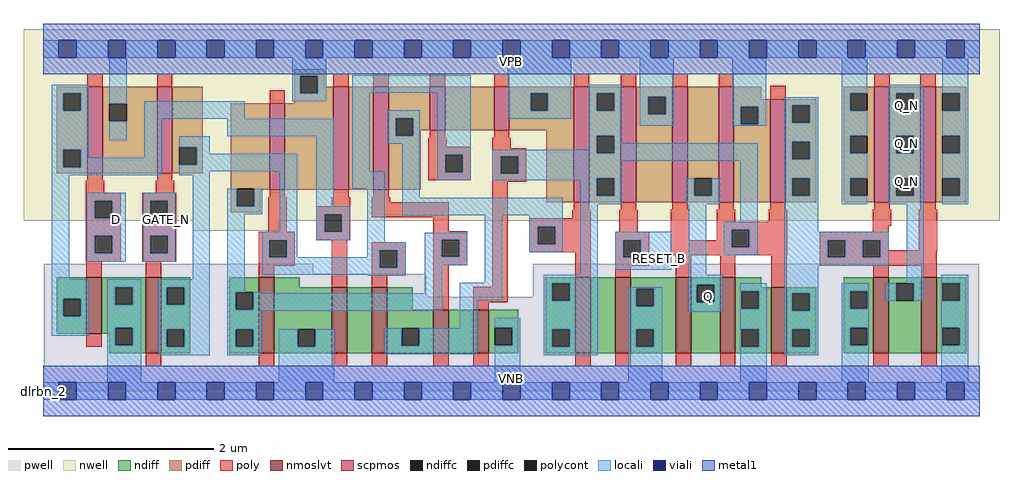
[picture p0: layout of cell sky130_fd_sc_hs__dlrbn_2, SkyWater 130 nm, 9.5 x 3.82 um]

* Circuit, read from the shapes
.subckt sky130_fd_sc_hs__dlrbn_2 D GATE_N RESET_B VGND VNB VPB VPWR Q Q_N
XM1 VGND D n1 VNB sky130_fd_pr__nfet_01v8_lvt w=0.55 l=0.15
XM2 n2 GATE_N VGND VNB sky130_fd_pr__nfet_01v8_lvt w=0.74 l=0.15
XM3 VGND n2 n3 VNB sky130_fd_pr__nfet_01v8_lvt w=0.74 l=0.15
XM4 n4 n1 VGND VNB sky130_fd_pr__nfet_01v8_lvt w=0.64 l=0.15
XM5 n5 n2 n4 VNB sky130_fd_pr__nfet_01v8_lvt w=0.64 l=0.15
XM6 n6 n3 n5 VNB sky130_fd_pr__nfet_01v8_lvt w=0.42 l=0.15
XM7 VGND n7 n6 VNB sky130_fd_pr__nfet_01v8_lvt w=0.42 l=0.15
XM8 n8 n5 n7 VNB sky130_fd_pr__nfet_01v8_lvt w=0.74 l=0.15
XM9 VGND RESET_B n8 VNB sky130_fd_pr__nfet_01v8_lvt w=0.74 l=0.15
XM10 Q n7 VGND VNB sky130_fd_pr__nfet_01v8_lvt w=0.74 l=0.15 m=2
XM11 n9 n7 VGND VNB sky130_fd_pr__nfet_01v8_lvt w=0.64 l=0.15
XM12 Q_N n9 VGND VNB sky130_fd_pr__nfet_01v8_lvt w=0.74 l=0.15 m=2
XM13 VPWR D n1 VPB sky130_fd_pr__pfet_01v8 w=0.84 l=0.15
XM14 n2 GATE_N VPWR VPB sky130_fd_pr__pfet_01v8 w=0.84 l=0.15
XM15 VPWR n2 n3 VPB sky130_fd_pr__pfet_01v8 w=0.84 l=0.15
XM16 n10 n1 VPWR VPB sky130_fd_pr__pfet_01v8 w=1 l=0.15
XM17 n5 n3 n10 VPB sky130_fd_pr__pfet_01v8 w=1 l=0.15
XM18 n11 n2 n5 VPB sky130_fd_pr__pfet_01v8 w=0.42 l=0.15
XM19 VPWR n7 n11 VPB sky130_fd_pr__pfet_01v8 w=0.42 l=0.15
XM20 n7 n5 VPWR VPB sky130_fd_pr__pfet_01v8 w=1.12 l=0.15
XM21 VPWR RESET_B n7 VPB sky130_fd_pr__pfet_01v8 w=1.12 l=0.15
XM22 Q n7 VPWR VPB sky130_fd_pr__pfet_01v8 w=1.12 l=0.15 m=2
XM23 n9 n7 VPWR VPB sky130_fd_pr__pfet_01v8 w=1 l=0.15
XM24 Q_N n9 VPWR VPB sky130_fd_pr__pfet_01v8 w=1.12 l=0.15 m=2
.ends

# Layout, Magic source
magic
tech sky130A
magscale 1 2
<< nwell >>
rect -38 332 1862 704
rect 291 312 459 332
<< pwell >>
rect 1 228 526 248
rect 1 184 746 228
rect 953 184 1823 248
rect 1 49 1823 184
rect 0 0 1824 49
<< scpmos >>
rect 86 424 116 592
rect 222 424 252 592
rect 441 392 471 560
rect 565 392 595 592
rect 643 392 673 592
rect 753 508 783 592
rect 878 508 908 592
rect 1033 368 1063 592
rect 1125 368 1155 592
rect 1225 368 1255 592
rect 1315 368 1345 592
rect 1416 368 1446 568
rect 1618 368 1648 592
rect 1708 368 1738 592
<< nmoslvt >>
rect 84 112 114 222
rect 200 74 230 222
rect 420 74 450 222
rect 562 74 592 202
rect 640 74 670 202
rect 760 74 790 158
rect 838 74 868 158
rect 1036 74 1066 222
rect 1114 74 1144 222
rect 1232 74 1262 222
rect 1318 74 1348 222
rect 1418 74 1448 202
rect 1616 74 1646 222
rect 1710 74 1740 222
<< ndiff >>
rect 27 180 84 222
rect 27 146 39 180
rect 73 146 84 180
rect 27 112 84 146
rect 114 202 200 222
rect 114 168 141 202
rect 175 168 200 202
rect 114 123 200 168
rect 114 112 141 123
rect 129 89 141 112
rect 175 89 200 123
rect 129 74 200 89
rect 230 202 287 222
rect 230 168 241 202
rect 275 168 287 202
rect 230 120 287 168
rect 230 86 241 120
rect 275 86 287 120
rect 230 74 287 86
rect 363 192 420 222
rect 363 158 375 192
rect 409 158 420 192
rect 363 120 420 158
rect 363 86 375 120
rect 409 86 420 120
rect 363 74 420 86
rect 450 202 500 222
rect 450 120 562 202
rect 450 86 496 120
rect 530 86 562 120
rect 450 74 562 86
rect 592 74 640 202
rect 670 158 720 202
rect 979 210 1036 222
rect 979 176 991 210
rect 1025 176 1036 210
rect 670 122 760 158
rect 670 88 698 122
rect 732 88 760 122
rect 670 74 760 88
rect 790 74 838 158
rect 868 123 925 158
rect 868 89 879 123
rect 913 89 925 123
rect 868 74 925 89
rect 979 120 1036 176
rect 979 86 991 120
rect 1025 86 1036 120
rect 979 74 1036 86
rect 1066 74 1114 222
rect 1144 199 1232 222
rect 1144 165 1155 199
rect 1189 165 1232 199
rect 1144 120 1232 165
rect 1144 86 1155 120
rect 1189 86 1232 120
rect 1144 74 1232 86
rect 1262 207 1318 222
rect 1262 173 1273 207
rect 1307 173 1318 207
rect 1262 74 1318 173
rect 1348 202 1398 222
rect 1348 194 1418 202
rect 1348 160 1359 194
rect 1393 160 1418 194
rect 1348 120 1418 160
rect 1348 86 1359 120
rect 1393 86 1418 120
rect 1348 74 1418 86
rect 1448 190 1505 202
rect 1448 156 1459 190
rect 1493 156 1505 190
rect 1448 120 1505 156
rect 1448 86 1459 120
rect 1493 86 1505 120
rect 1448 74 1505 86
rect 1559 194 1616 222
rect 1559 160 1571 194
rect 1605 160 1616 194
rect 1559 123 1616 160
rect 1559 89 1571 123
rect 1605 89 1616 123
rect 1559 74 1616 89
rect 1646 210 1710 222
rect 1646 176 1661 210
rect 1695 176 1710 210
rect 1646 74 1710 176
rect 1740 210 1797 222
rect 1740 176 1751 210
rect 1785 176 1797 210
rect 1740 123 1797 176
rect 1740 89 1751 123
rect 1785 89 1797 123
rect 1740 74 1797 89
<< pdiff >>
rect 489 614 547 626
rect 27 580 86 592
rect 27 546 39 580
rect 73 546 86 580
rect 27 470 86 546
rect 27 436 39 470
rect 73 436 86 470
rect 27 424 86 436
rect 116 559 222 592
rect 116 525 129 559
rect 163 525 222 559
rect 116 424 222 525
rect 252 475 311 592
rect 489 580 501 614
rect 535 592 547 614
rect 535 580 565 592
rect 489 560 565 580
rect 252 441 265 475
rect 299 441 311 475
rect 252 424 311 441
rect 365 394 441 560
rect 365 360 377 394
rect 411 392 441 394
rect 471 392 565 560
rect 595 392 643 592
rect 673 531 753 592
rect 673 497 687 531
rect 721 508 753 531
rect 783 508 878 592
rect 908 580 1033 592
rect 908 546 949 580
rect 983 546 1033 580
rect 908 508 1033 546
rect 721 497 735 508
rect 673 392 735 497
rect 411 360 423 392
rect 365 348 423 360
rect 980 368 1033 508
rect 1063 580 1125 592
rect 1063 546 1078 580
rect 1112 546 1125 580
rect 1063 497 1125 546
rect 1063 463 1078 497
rect 1112 463 1125 497
rect 1063 414 1125 463
rect 1063 380 1078 414
rect 1112 380 1125 414
rect 1063 368 1125 380
rect 1155 573 1225 592
rect 1155 539 1178 573
rect 1212 539 1225 573
rect 1155 368 1225 539
rect 1255 414 1315 592
rect 1255 380 1268 414
rect 1302 380 1315 414
rect 1255 368 1315 380
rect 1345 568 1398 592
rect 1559 580 1618 592
rect 1345 553 1416 568
rect 1345 519 1358 553
rect 1392 519 1416 553
rect 1345 368 1416 519
rect 1446 556 1505 568
rect 1446 522 1459 556
rect 1493 522 1505 556
rect 1446 485 1505 522
rect 1446 451 1459 485
rect 1493 451 1505 485
rect 1446 414 1505 451
rect 1446 380 1459 414
rect 1493 380 1505 414
rect 1446 368 1505 380
rect 1559 546 1571 580
rect 1605 546 1618 580
rect 1559 497 1618 546
rect 1559 463 1571 497
rect 1605 463 1618 497
rect 1559 414 1618 463
rect 1559 380 1571 414
rect 1605 380 1618 414
rect 1559 368 1618 380
rect 1648 580 1708 592
rect 1648 546 1661 580
rect 1695 546 1708 580
rect 1648 497 1708 546
rect 1648 463 1661 497
rect 1695 463 1708 497
rect 1648 414 1708 463
rect 1648 380 1661 414
rect 1695 380 1708 414
rect 1648 368 1708 380
rect 1738 580 1797 592
rect 1738 546 1751 580
rect 1785 546 1797 580
rect 1738 497 1797 546
rect 1738 463 1751 497
rect 1785 463 1797 497
rect 1738 414 1797 463
rect 1738 380 1751 414
rect 1785 380 1797 414
rect 1738 368 1797 380
<< ndiffc >>
rect 39 146 73 180
rect 141 168 175 202
rect 141 89 175 123
rect 241 168 275 202
rect 241 86 275 120
rect 375 158 409 192
rect 375 86 409 120
rect 496 86 530 120
rect 991 176 1025 210
rect 698 88 732 122
rect 879 89 913 123
rect 991 86 1025 120
rect 1155 165 1189 199
rect 1155 86 1189 120
rect 1273 173 1307 207
rect 1359 160 1393 194
rect 1359 86 1393 120
rect 1459 156 1493 190
rect 1459 86 1493 120
rect 1571 160 1605 194
rect 1571 89 1605 123
rect 1661 176 1695 210
rect 1751 176 1785 210
rect 1751 89 1785 123
<< pdiffc >>
rect 39 546 73 580
rect 39 436 73 470
rect 129 525 163 559
rect 501 580 535 614
rect 265 441 299 475
rect 377 360 411 394
rect 687 497 721 531
rect 949 546 983 580
rect 1078 546 1112 580
rect 1078 463 1112 497
rect 1078 380 1112 414
rect 1178 539 1212 573
rect 1268 380 1302 414
rect 1358 519 1392 553
rect 1459 522 1493 556
rect 1459 451 1493 485
rect 1459 380 1493 414
rect 1571 546 1605 580
rect 1571 463 1605 497
rect 1571 380 1605 414
rect 1661 546 1695 580
rect 1661 463 1695 497
rect 1661 380 1695 414
rect 1751 546 1785 580
rect 1751 463 1785 497
rect 1751 380 1785 414
<< poly >>
rect 86 592 116 618
rect 222 592 252 618
rect 441 560 471 586
rect 565 592 595 618
rect 643 592 673 618
rect 753 592 783 618
rect 878 592 908 618
rect 1033 592 1063 618
rect 1125 592 1155 618
rect 1225 592 1255 618
rect 1315 592 1345 618
rect 86 409 116 424
rect 222 409 252 424
rect 83 386 119 409
rect 219 386 255 409
rect 83 370 151 386
rect 83 336 101 370
rect 135 336 151 370
rect 83 302 151 336
rect 83 268 101 302
rect 135 268 151 302
rect 83 252 151 268
rect 193 370 259 386
rect 193 336 209 370
rect 243 336 259 370
rect 753 493 783 508
rect 878 493 908 508
rect 750 476 786 493
rect 750 460 833 476
rect 750 426 783 460
rect 817 426 833 460
rect 750 410 833 426
rect 875 473 911 493
rect 875 457 941 473
rect 875 423 891 457
rect 925 423 941 457
rect 875 407 941 423
rect 441 377 471 392
rect 565 377 595 392
rect 643 377 673 392
rect 193 302 259 336
rect 438 310 474 377
rect 562 360 598 377
rect 532 344 598 360
rect 532 310 548 344
rect 582 310 598 344
rect 640 368 676 377
rect 640 338 790 368
rect 193 268 209 302
rect 243 268 259 302
rect 193 252 259 268
rect 420 294 490 310
rect 532 294 598 310
rect 760 311 790 338
rect 760 295 826 311
rect 420 260 440 294
rect 474 260 490 294
rect 84 222 114 252
rect 200 222 230 252
rect 420 244 490 260
rect 420 222 450 244
rect 84 86 114 112
rect 562 202 592 294
rect 640 274 706 290
rect 640 240 656 274
rect 690 240 706 274
rect 640 224 706 240
rect 760 261 776 295
rect 810 261 826 295
rect 760 245 826 261
rect 640 202 670 224
rect 760 158 790 245
rect 875 203 905 407
rect 1416 568 1446 594
rect 1618 592 1648 618
rect 1708 592 1738 618
rect 1033 353 1063 368
rect 1125 353 1155 368
rect 1225 353 1255 368
rect 1315 353 1345 368
rect 1416 353 1446 368
rect 1618 353 1648 368
rect 1708 353 1738 368
rect 1030 336 1066 353
rect 947 320 1066 336
rect 947 286 963 320
rect 997 286 1066 320
rect 1122 310 1158 353
rect 947 270 1066 286
rect 1036 222 1066 270
rect 1114 294 1180 310
rect 1114 260 1130 294
rect 1164 260 1180 294
rect 1222 294 1258 353
rect 1312 330 1348 353
rect 1413 330 1449 353
rect 1312 314 1449 330
rect 1312 294 1341 314
rect 1222 280 1341 294
rect 1375 280 1449 314
rect 1615 322 1651 353
rect 1615 310 1646 322
rect 1222 264 1449 280
rect 1512 294 1646 310
rect 1114 244 1180 260
rect 1114 222 1144 244
rect 1232 222 1262 264
rect 1318 222 1348 264
rect 838 173 905 203
rect 838 158 868 173
rect 1418 202 1448 264
rect 1512 260 1528 294
rect 1562 260 1596 294
rect 1630 274 1646 294
rect 1705 274 1741 353
rect 1630 260 1740 274
rect 1512 244 1740 260
rect 1616 222 1646 244
rect 1710 222 1740 244
rect 200 48 230 74
rect 420 48 450 74
rect 562 48 592 74
rect 640 48 670 74
rect 760 48 790 74
rect 838 48 868 74
rect 1036 48 1066 74
rect 1114 48 1144 74
rect 1232 48 1262 74
rect 1318 48 1348 74
rect 1418 48 1448 74
rect 1616 48 1646 74
rect 1710 48 1740 74
<< polycont >>
rect 101 336 135 370
rect 101 268 135 302
rect 209 336 243 370
rect 783 426 817 460
rect 891 423 925 457
rect 548 310 582 344
rect 209 268 243 302
rect 440 260 474 294
rect 656 240 690 274
rect 776 261 810 295
rect 963 286 997 320
rect 1130 260 1164 294
rect 1341 280 1375 314
rect 1528 260 1562 294
rect 1596 260 1630 294
<< locali >>
rect 0 649 31 683
rect 65 649 127 683
rect 161 649 223 683
rect 257 649 319 683
rect 353 649 415 683
rect 449 649 511 683
rect 545 649 607 683
rect 641 649 703 683
rect 737 649 799 683
rect 833 649 895 683
rect 929 649 991 683
rect 1025 649 1087 683
rect 1121 649 1183 683
rect 1217 649 1279 683
rect 1313 649 1375 683
rect 1409 649 1471 683
rect 1505 649 1567 683
rect 1601 649 1663 683
rect 1697 649 1759 683
rect 1793 649 1824 683
rect 17 580 89 596
rect 17 546 39 580
rect 73 546 89 580
rect 17 470 89 546
rect 129 559 163 649
rect 485 614 551 649
rect 485 580 501 614
rect 535 580 551 614
rect 485 564 551 580
rect 602 581 833 615
rect 129 488 163 525
rect 197 530 393 564
rect 17 436 39 470
rect 73 454 89 470
rect 197 454 231 530
rect 359 496 566 530
rect 73 436 231 454
rect 17 420 231 436
rect 265 475 325 496
rect 299 462 325 475
rect 299 441 495 462
rect 265 428 495 441
rect 265 420 325 428
rect 17 218 51 420
rect 85 370 161 386
rect 85 336 101 370
rect 135 336 161 370
rect 85 302 161 336
rect 85 268 101 302
rect 135 268 161 302
rect 85 252 161 268
rect 195 370 257 386
rect 195 336 209 370
rect 243 336 257 370
rect 195 302 257 336
rect 195 268 209 302
rect 243 268 257 302
rect 195 252 257 268
rect 291 218 325 420
rect 17 180 89 218
rect 17 146 39 180
rect 73 146 89 180
rect 17 108 89 146
rect 125 202 191 218
rect 125 168 141 202
rect 175 168 191 202
rect 125 123 191 168
rect 125 89 141 123
rect 175 89 191 123
rect 125 17 191 89
rect 225 202 325 218
rect 225 168 241 202
rect 275 168 325 202
rect 225 120 325 168
rect 225 86 241 120
rect 275 86 325 120
rect 225 70 325 86
rect 359 360 377 394
rect 411 360 427 394
rect 359 344 427 360
rect 359 192 393 344
rect 461 310 495 428
rect 427 294 495 310
rect 532 360 566 496
rect 602 428 636 581
rect 670 531 733 547
rect 670 497 687 531
rect 721 497 733 531
rect 670 481 733 497
rect 602 394 665 428
rect 532 344 597 360
rect 532 310 548 344
rect 582 310 597 344
rect 532 294 597 310
rect 427 260 440 294
rect 474 260 495 294
rect 631 290 665 394
rect 699 376 733 481
rect 767 460 833 581
rect 905 580 1028 649
rect 905 546 949 580
rect 983 546 1028 580
rect 905 530 1028 546
rect 1062 580 1128 596
rect 1062 546 1078 580
rect 1112 546 1128 580
rect 1062 497 1128 546
rect 1162 573 1228 649
rect 1162 539 1178 573
rect 1212 539 1228 573
rect 1162 516 1228 539
rect 1342 553 1408 649
rect 1555 580 1605 649
rect 1342 519 1358 553
rect 1392 519 1408 553
rect 1342 516 1408 519
rect 1443 556 1509 572
rect 1443 522 1459 556
rect 1493 522 1509 556
rect 1062 470 1078 497
rect 767 426 783 460
rect 817 426 833 460
rect 767 410 833 426
rect 875 463 1078 470
rect 1112 482 1128 497
rect 1443 485 1509 522
rect 1112 463 1391 482
rect 875 457 1391 463
rect 875 423 891 457
rect 925 448 1391 457
rect 925 423 1128 448
rect 875 414 1128 423
rect 875 410 1078 414
rect 1046 380 1078 410
rect 1112 380 1128 414
rect 699 342 1012 376
rect 743 295 826 308
rect 631 274 706 290
rect 631 260 656 274
rect 427 240 656 260
rect 690 240 706 274
rect 427 226 706 240
rect 631 224 706 226
rect 743 261 776 295
rect 810 261 826 295
rect 743 245 826 261
rect 359 158 375 192
rect 409 190 425 192
rect 743 190 777 245
rect 860 211 894 342
rect 947 320 1012 342
rect 947 286 963 320
rect 997 286 1012 320
rect 947 270 1012 286
rect 1046 364 1128 380
rect 1252 380 1268 414
rect 1302 380 1318 414
rect 1252 364 1318 380
rect 1046 226 1080 364
rect 1114 294 1223 310
rect 1114 260 1130 294
rect 1164 260 1223 294
rect 1114 236 1223 260
rect 409 158 777 190
rect 359 156 777 158
rect 811 177 894 211
rect 975 210 1080 226
rect 359 120 425 156
rect 811 122 845 177
rect 975 176 991 210
rect 1025 176 1080 210
rect 1257 226 1291 364
rect 1357 330 1391 448
rect 1325 314 1391 330
rect 1325 280 1341 314
rect 1375 280 1391 314
rect 1325 264 1391 280
rect 1443 451 1459 485
rect 1493 451 1509 485
rect 1443 414 1509 451
rect 1443 380 1459 414
rect 1493 380 1509 414
rect 1443 310 1509 380
rect 1555 546 1571 580
rect 1555 497 1605 546
rect 1555 463 1571 497
rect 1555 414 1605 463
rect 1555 380 1571 414
rect 1555 364 1605 380
rect 1645 580 1715 596
rect 1645 546 1661 580
rect 1695 546 1715 580
rect 1645 497 1715 546
rect 1645 463 1661 497
rect 1695 463 1715 497
rect 1645 414 1715 463
rect 1645 380 1661 414
rect 1695 380 1715 414
rect 1645 364 1715 380
rect 1751 580 1801 649
rect 1785 546 1801 580
rect 1751 497 1801 546
rect 1785 463 1801 497
rect 1751 414 1801 463
rect 1785 380 1801 414
rect 1751 364 1801 380
rect 1443 294 1646 310
rect 1443 260 1528 294
rect 1562 260 1596 294
rect 1630 260 1646 294
rect 1443 244 1646 260
rect 1257 207 1323 226
rect 359 86 375 120
rect 409 86 425 120
rect 359 70 425 86
rect 459 86 496 120
rect 530 86 567 120
rect 459 17 567 86
rect 665 88 698 122
rect 732 88 845 122
rect 665 72 845 88
rect 879 123 929 143
rect 913 89 929 123
rect 879 17 929 89
rect 975 120 1080 176
rect 975 86 991 120
rect 1025 86 1080 120
rect 975 70 1080 86
rect 1139 199 1205 202
rect 1139 165 1155 199
rect 1189 165 1205 199
rect 1139 120 1205 165
rect 1257 173 1273 207
rect 1307 173 1323 207
rect 1257 154 1323 173
rect 1357 194 1409 210
rect 1357 160 1359 194
rect 1393 160 1409 194
rect 1139 86 1155 120
rect 1189 86 1205 120
rect 1139 17 1205 86
rect 1357 120 1409 160
rect 1357 86 1359 120
rect 1393 86 1409 120
rect 1357 17 1409 86
rect 1443 190 1509 244
rect 1681 210 1715 364
rect 1443 156 1459 190
rect 1493 156 1509 190
rect 1443 120 1509 156
rect 1443 86 1459 120
rect 1493 86 1509 120
rect 1443 70 1509 86
rect 1555 194 1607 210
rect 1555 160 1571 194
rect 1605 160 1607 194
rect 1641 176 1661 210
rect 1695 176 1715 210
rect 1749 210 1801 226
rect 1749 176 1751 210
rect 1785 176 1801 210
rect 1555 123 1607 160
rect 1555 89 1571 123
rect 1605 89 1607 123
rect 1555 17 1607 89
rect 1749 123 1801 176
rect 1749 89 1751 123
rect 1785 89 1801 123
rect 1749 17 1801 89
rect 0 -17 31 17
rect 65 -17 127 17
rect 161 -17 223 17
rect 257 -17 319 17
rect 353 -17 415 17
rect 449 -17 511 17
rect 545 -17 607 17
rect 641 -17 703 17
rect 737 -17 799 17
rect 833 -17 895 17
rect 929 -17 991 17
rect 1025 -17 1087 17
rect 1121 -17 1183 17
rect 1217 -17 1279 17
rect 1313 -17 1375 17
rect 1409 -17 1471 17
rect 1505 -17 1567 17
rect 1601 -17 1663 17
rect 1697 -17 1759 17
rect 1793 -17 1824 17
<< viali >>
rect 31 649 65 683
rect 127 649 161 683
rect 223 649 257 683
rect 319 649 353 683
rect 415 649 449 683
rect 511 649 545 683
rect 607 649 641 683
rect 703 649 737 683
rect 799 649 833 683
rect 895 649 929 683
rect 991 649 1025 683
rect 1087 649 1121 683
rect 1183 649 1217 683
rect 1279 649 1313 683
rect 1375 649 1409 683
rect 1471 649 1505 683
rect 1567 649 1601 683
rect 1663 649 1697 683
rect 1759 649 1793 683
rect 31 -17 65 17
rect 127 -17 161 17
rect 223 -17 257 17
rect 319 -17 353 17
rect 415 -17 449 17
rect 511 -17 545 17
rect 607 -17 641 17
rect 703 -17 737 17
rect 799 -17 833 17
rect 895 -17 929 17
rect 991 -17 1025 17
rect 1087 -17 1121 17
rect 1183 -17 1217 17
rect 1279 -17 1313 17
rect 1375 -17 1409 17
rect 1471 -17 1505 17
rect 1567 -17 1601 17
rect 1663 -17 1697 17
rect 1759 -17 1793 17
<< metal1 >>
rect 0 683 1824 715
rect 0 649 31 683
rect 65 649 127 683
rect 161 649 223 683
rect 257 649 319 683
rect 353 649 415 683
rect 449 649 511 683
rect 545 649 607 683
rect 641 649 703 683
rect 737 649 799 683
rect 833 649 895 683
rect 929 649 991 683
rect 1025 649 1087 683
rect 1121 649 1183 683
rect 1217 649 1279 683
rect 1313 649 1375 683
rect 1409 649 1471 683
rect 1505 649 1567 683
rect 1601 649 1663 683
rect 1697 649 1759 683
rect 1793 649 1824 683
rect 0 617 1824 649
rect 0 17 1824 49
rect 0 -17 31 17
rect 65 -17 127 17
rect 161 -17 223 17
rect 257 -17 319 17
rect 353 -17 415 17
rect 449 -17 511 17
rect 545 -17 607 17
rect 641 -17 703 17
rect 737 -17 799 17
rect 833 -17 895 17
rect 929 -17 991 17
rect 1025 -17 1087 17
rect 1121 -17 1183 17
rect 1217 -17 1279 17
rect 1313 -17 1375 17
rect 1409 -17 1471 17
rect 1505 -17 1567 17
rect 1601 -17 1663 17
rect 1697 -17 1759 17
rect 1793 -17 1824 17
rect 0 -49 1824 -17
<< labels >>
rlabel comment s 0 0 0 0 4 dlrbn_2
flabel pwell s 0 0 1824 49 0 FreeSans 200 0 0 0 VNB
port 5 nsew ground bidirectional
flabel nwell s 0 617 1824 666 0 FreeSans 200 0 0 0 VPB
port 6 nsew power bidirectional
flabel metal1 s 0 617 1824 666 0 FreeSans 340 0 0 0 VPWR
port 7 nsew power bidirectional
flabel metal1 s 0 0 1824 49 0 FreeSans 340 0 0 0 VGND
port 4 nsew ground bidirectional
flabel locali s 127 316 161 350 0 FreeSans 340 0 0 0 D
port 1 nsew signal input
flabel locali s 223 316 257 350 0 FreeSans 340 0 0 0 GATE_N
port 2 nsew clock input
flabel locali s 1183 242 1217 276 0 FreeSans 340 0 0 0 RESET_B
port 3 nsew signal input
flabel locali s 1279 168 1313 202 0 FreeSans 340 0 0 0 Q
port 8 nsew signal output
flabel locali s 1663 390 1697 424 0 FreeSans 340 0 0 0 Q_N
port 9 nsew signal output
flabel locali s 1663 464 1697 498 0 FreeSans 340 0 0 0 Q_N
port 9 nsew signal output
flabel locali s 1663 538 1697 572 0 FreeSans 340 0 0 0 Q_N
port 9 nsew signal output
<< properties >>
string LEFsite unit
string LEFclass CORE
string FIXED_BBOX 0 0 1824 666
string GDS_FILE $PDKPATH/libs.ref/sky130_fd_sc_hs/gds/sky130_fd_sc_hs.gds
string LEFsymmetry X Y
string GDS_END 3379788
string GDS_START 3365788
<< end >>
